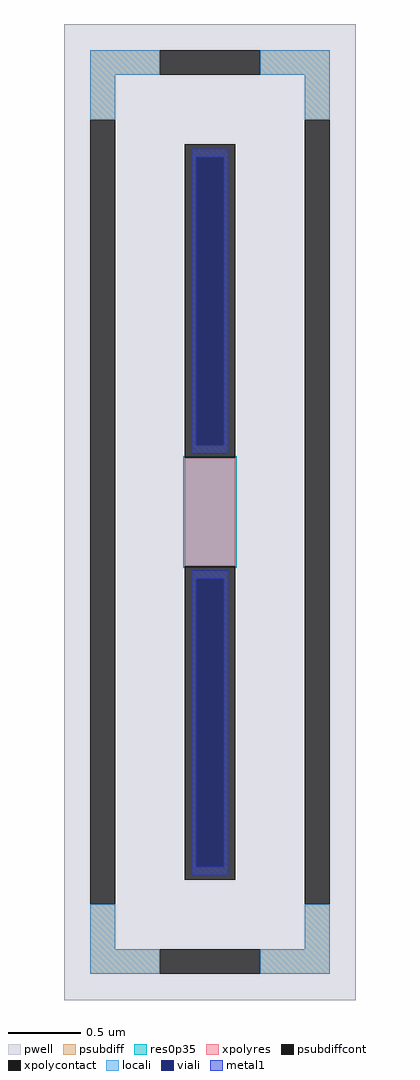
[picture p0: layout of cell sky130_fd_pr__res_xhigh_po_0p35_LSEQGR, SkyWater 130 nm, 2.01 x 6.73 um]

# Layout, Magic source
magic
tech sky130A
magscale 1 2
<< pwell >>
rect -201 -673 201 673
<< psubdiff >>
rect -165 603 -69 637
rect 69 603 165 637
rect -165 541 -131 603
rect 131 541 165 603
rect -165 -603 -131 -541
rect 131 -603 165 -541
rect -165 -637 -69 -603
rect 69 -637 165 -603
<< psubdiffcont >>
rect -69 603 69 637
rect -165 -541 -131 541
rect 131 -541 165 541
rect -69 -637 69 -603
<< xpolycontact >>
rect -35 75 35 507
rect -35 -507 35 -75
<< xpolyres >>
rect -35 -75 35 75
<< locali >>
rect -165 603 -69 637
rect 69 603 165 637
rect -165 541 -131 603
rect 131 541 165 603
rect -165 -603 -131 -541
rect 131 -603 165 -541
rect -165 -637 -69 -603
rect 69 -637 165 -603
<< viali >>
rect -19 92 19 489
rect -19 -489 19 -92
<< metal1 >>
rect -25 489 25 501
rect -25 92 -19 489
rect 19 92 25 489
rect -25 80 25 92
rect -25 -92 25 -80
rect -25 -489 -19 -92
rect 19 -489 25 -92
rect -25 -501 25 -489
<< res0p35 >>
rect -37 -77 37 77
<< properties >>
string FIXED_BBOX -148 -620 148 620
string gencell sky130_fd_pr__res_xhigh_po_0p35
string library sky130
string parameters w 0.35 l 0.75 m 1 nx 1 wmin 0.350 lmin 0.50 rho 2000 val 5.361k dummy 0 dw 0.0 term 188.2 sterm 0.0 caplen 0 wmax 0.350 guard 1 glc 1 grc 1 gtc 1 gbc 1 compatible {sky130_fd_pr__res_xhigh_po_0p35  sky130_fd_pr__res_xhigh_po_0p69 sky130_fd_pr__res_xhigh_po_1p41  sky130_fd_pr__res_xhigh_po_2p85 sky130_fd_pr__res_xhigh_po_5p73} snake 0 full_metal 1 n_guard 0 hv_guard 0 vias 1 viagb 0 viagt 0 viagl 0 viagr 0
<< end >>
